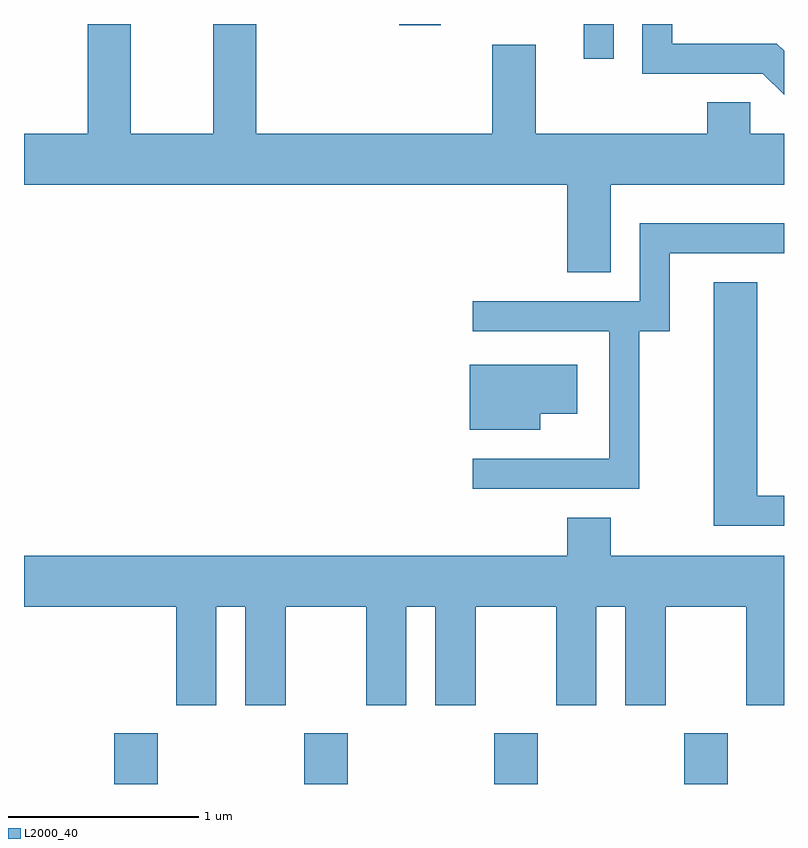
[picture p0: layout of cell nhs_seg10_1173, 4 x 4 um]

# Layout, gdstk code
import gdstk
lib = gdstk.Library(unit=1e-6, precision=1e-09)
def R(c, l, rs):  # rectangles x0, y0, x1, y1
    for r in rs: c.add(gdstk.rectangle(r[:2], r[2:], *l))
def A(c, l, x, y, w, h, nx, ny, dx, dy):  # array of equal rectangles
    R(c, l, [(x+i*dx, y+j*dy, x+i*dx+w, y+j*dy+h) for i in range(nx) for j in range(ny)])
def P(c, l, *ps):  # polygons
    for p in ps: c.add(gdstk.Polygon(p, *l))
L2000_40 = (2000, 40)

nhs_seg10_1173 = lib.new_cell('nhs_seg10_1173')
A(nhs_seg10_1173, L2000_40, 220.086, 2128.522, 0.228, 0.267, 4, 1, 1, 0)
R(nhs_seg10_1173, L2000_40, [(222.556,2132.338,222.714,2132.522), (221.586,2132.516,221.804,2132.522)])
P(nhs_seg10_1173, L2000_40, [(222.699,2131.676),(223.611,2131.676),(223.611,2131.944),(223.434,2131.944),(223.434,2132.109),(223.206,2132.109),(223.206,2131.944),(222.304,2131.944),(222.304,2132.414),(222.076,2132.414),(222.076,2131.944),(220.834,2131.944),(220.834,2132.522),(220.606,2132.522),(220.606,2131.944),(220.174,2131.944),(220.174,2132.522),(219.946,2132.522),(219.946,2131.944),(219.611,2131.944),(219.611,2131.676),(222.471,2131.676),(222.471,2131.216),(222.699,2131.216)],
  [(223.611,2132.38),(223.572,2132.419),(223.024,2132.419),(223.024,2132.522),(222.866,2132.522),(222.866,2132.261),(223.499,2132.261),(223.611,2132.149)],
  [(222.849,2130.906),(223.009,2130.906),(223.009,2131.316),(223.611,2131.316),(223.611,2131.474),(222.851,2131.474),(222.851,2131.064),(221.973,2131.064),(221.973,2130.906),(222.691,2130.906),(222.691,2130.234),(221.973,2130.234),(221.973,2130.076),(222.849,2130.076)],
  [(223.611,2130.039),(223.469,2130.039),(223.469,2131.164),(223.241,2131.164),(223.241,2129.881),(223.611,2129.881)],
  [(222.329,2130.471),(222.524,2130.471),(222.524,2130.729),(221.956,2130.729),(221.956,2130.386),(222.329,2130.386)],
  [(220.624,2129.456),(220.776,2129.456),(220.776,2128.936),(220.989,2128.936),(220.989,2129.456),(221.411,2129.456),(221.411,2128.936),(221.624,2128.936),(221.624,2129.456),(221.776,2129.456),(221.776,2128.936),(221.989,2128.936),(221.989,2129.456),(222.411,2129.456),(222.411,2128.936),(222.624,2128.936),(222.624,2129.456),(222.776,2129.456),(222.776,2128.936),(222.989,2128.936),(222.989,2129.456),(223.411,2129.456),(223.411,2128.936),(223.611,2128.936),(223.611,2129.724),(222.699,2129.724),(222.699,2129.924),(222.471,2129.924),(222.471,2129.724),(219.611,2129.724),(219.611,2129.456),(220.411,2129.456),(220.411,2128.936),(220.624,2128.936)])

lib.write_gds('nhs_seg10_1173.gds')
